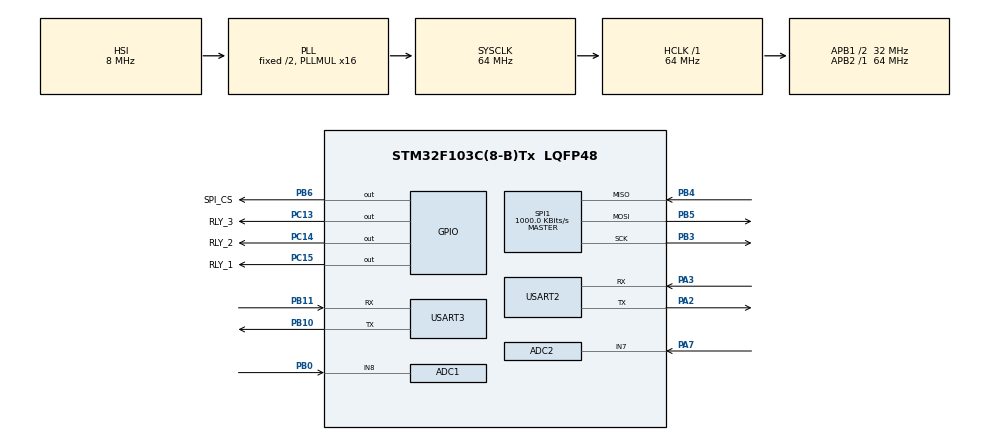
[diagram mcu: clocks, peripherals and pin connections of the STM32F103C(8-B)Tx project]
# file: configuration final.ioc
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ADC1.Channel-0\#ChannelRegularConversion=ADC_CHANNEL_8
ADC1.NbrOfConversionFlag=1
ADC1.Rank-0\#ChannelRegularConversion=1
ADC1.SamplingTime-0\#ChannelRegularConversion=ADC_SAMPLETIME_1CYCLE_5
ADC1.master=1
ADC2.Channel-0\#ChannelRegularConversion=ADC_CHANNEL_7
ADC2.NbrOfConversionFlag=1
ADC2.Rank-0\#ChannelRegularConversion=1
ADC2.SamplingTime-0\#ChannelRegularConversion=ADC_SAMPLETIME_1CYCLE_5
Mcu.Family=STM32F1
Mcu.Name=STM32F103C(8-B)Tx
Mcu.Package=LQFP48
NVIC.PriorityGroup=NVIC_PRIORITYGROUP_4
PA13.Mode=Serial_Wire
PA13.Signal=SYS_JTMS-SWDIO
PA14.Mode=Serial_Wire
PA14.Signal=SYS_JTCK-SWCLK
PA2.Mode=Asynchronous
PA2.Signal=USART2_TX
PA3.Mode=Asynchronous
PA3.Signal=USART2_RX
PA7.Signal=ADCx_IN7
PB0.Signal=ADCx_IN8
PB10.Mode=Asynchronous
PB10.Signal=USART3_TX
PB11.Mode=Asynchronous
PB11.Signal=USART3_RX
PB3.Mode=Full_Duplex_Master
PB3.Signal=SPI1_SCK
PB4.Mode=Full_Duplex_Master
PB4.Signal=SPI1_MISO
PB5.Mode=Full_Duplex_Master
PB5.Signal=SPI1_MOSI
PB6.GPIO_Label=SPI_CS
PB6.Signal=GPIO_Output
PC13-TAMPER-RTC.GPIO_Label=RLY_3
PC13-TAMPER-RTC.Signal=GPIO_Output
PC14-OSC32_IN.GPIO_Label=RLY_2
PC14-OSC32_IN.Signal=GPIO_Output
PC15-OSC32_OUT.GPIO_Label=RLY_1
PC15-OSC32_OUT.Signal=GPIO_Output
ProjectManager.HeapSize=0x200
ProjectManager.StackSize=0x400
ProjectManager.TargetToolchain=STM32CubeIDE
RCC.ADCPresc=RCC_ADCPCLK2_DIV6
RCC.AHBFreq_Value=64000000
RCC.APB1CLKDivider=RCC_HCLK_DIV2
RCC.APB1Freq_Value=32000000
RCC.APB1TimFreq_Value=64000000
RCC.APB2Freq_Value=64000000
RCC.APB2TimFreq_Value=64000000
RCC.HCLKFreq_Value=64000000
RCC.PLLMUL=RCC_PLL_MUL16
RCC.SYSCLKFreq_VALUE=64000000
RCC.SYSCLKSource=RCC_SYSCLKSOURCE_PLLCLK
RCC.USBFreq_Value=64000000
SH.ADCx_IN7.0=ADC2_IN7,IN7
SH.ADCx_IN8.0=ADC1_IN8,IN8
SPI1.BaudRatePrescaler=SPI_BAUDRATEPRESCALER_64
SPI1.CalculateBaudRate=1000.0 KBits/s
SPI1.Direction=SPI_DIRECTION_2LINES
SPI1.Mode=SPI_MODE_MASTER
SPI1.VirtualType=VM_MASTER
USART2.VirtualMode=VM_ASYNC
USART3.VirtualMode=VM_ASYNC
board=custom

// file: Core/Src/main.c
/* USER CODE BEGIN Header */
/**
  ******************************************************************************
  * @file           : main.c
  * @brief          : Main program body
  ******************************************************************************
  * @attention
  *
  * Copyright (c) 2024 STMicroelectronics.
  * All rights reserved.
  *
  * This software is licensed under terms that can be found in the LICENSE file
  * in the root directory of this software component.
  * If no LICENSE file comes with this software, it is provided AS-IS.
  *
  ******************************************************************************
  */
/* USER CODE END Header */
#include "main.h"
#include "adc.h"
#include "spi.h"
#include "usart.h"
#include "gpio.h"
#include "LoRa.h"

/* USER CODE BEGIN Includes */
#define MAX_DATA_SIZE 128
#define MAX_PRINT_SIZE 50
/* USER CODE END Includes */

/* USER CODE BEGIN PD */
LoRa myLoRa;
uint8_t read_data[40];
char LoRa_Data[40];
uint8_t LoRa_stat;
char buffer[200];
uint32_t RxData = 0;
float DataArray[50]; // Tableau pour stocker les données séparées
int size = sizeof(DataArray) / sizeof(DataArray[0]); // Taille du tableau

float Temperature = 1;													/////
float Conductivity = 1;													/////
float Salinity = 1;														/////
float TDS = 1;															/////
float PH = 1;

float Previous_Temperature;
float Previous_Conductivity;
float Previous_Salinity;
float Previous_TDS;
float Previous_PH;

/* USER CODE END PD */

void SystemClock_Config(void);

int main(void)
{

  /* USER CODE BEGIN 1 */
	memset(LoRa_Data, 0, sizeof(LoRa_Data)); // Initialise tous les éléments avec des zéros
  /* USER CODE END 1 */

  /* MCU Configuration--------------------------------------------------------*/

  /* Reset of all peripherals, Initializes the Flash interface and the Systick. */
  HAL_Init();

  /* Configure the system clock */
  SystemClock_Config();

  /* Initialize all configured peripherals */
  MX_GPIO_Init();
  MX_ADC1_Init();
  MX_ADC2_Init();
  MX_SPI1_Init();
  MX_USART2_UART_Init();
  MX_USART3_UART_Init();
  /* USER CODE BEGIN 2 */
  myLoRa = newLoRa();
  LoRa new_LoRa;
  myLoRa.CS_port         = GPIOB;
  myLoRa.CS_pin          = GPIO_PIN_6;
  myLoRa.hSPIx           = &hspi1;

  if(LoRa_init(&myLoRa)==LORA_OK){
	  LoRa_stat = 1;
  }else {
      LoRa_stat = 0; // Échec de l'initialisation
  }
  /* USER CODE END 2 */

  /* Infinite loop */
  while (1)
  {
	  HAL_UART_Transmit(&huart2, (uint8_t *)buffer, strlen(buffer), HAL_MAX_DELAY);
 	  int bytes_received = LoRa_receive(&myLoRa, read_data, sizeof(read_data));
 	  if (LoRa_stat == 1) {
 	              receiveAndProcessLoRaFrame(bytes_received, read_data, &RxData, DataArray, size);
 	              Previous_Temperature = DataArray[0] / 100;
 	              Previous_Conductivity = DataArray[1];
 	              Previous_Salinity = DataArray[2];
 	              Previous_TDS = DataArray[3];
 	              Previous_PH = DataArray[4]/100;
          } else {
	              HAL_UART_Transmit(&huart2, (uint8_t *)"LoRa n'est pas initialisé\n", strlen("LoRa n'est pas initialisé\n"), HAL_MAX_DELAY);
          }

       HAL_UART_Transmit(&huart2, (uint8_t *)"______________________ Les valeurs stocké ________________________\n", strlen("______________________ Les valeurs stocké ________________________\n"), HAL_MAX_DELAY);
       snprintf(buffer, sizeof(buffer), "\nTemperature : %.2f °C\nConductivity : %.2f us/cm\nSalinity: %.2f mg/L\nTDS: %.2f mg/L\nPH: %.2f ph \r\n", Previous_Temperature, Previous_Conductivity, Previous_Salinity, Previous_TDS, Previous_PH);
       HAL_UART_Transmit(&huart2, (uint8_t *)buffer, strlen(buffer), HAL_MAX_DELAY);
       HAL_UART_Transmit(&huart2, (uint8_t *)"______________________________________________\n", strlen("______________________________________________\n"), HAL_MAX_DELAY);

 	 lireTensionBatterie();
 	 lireTensionStable();

 	  HAL_Delay(1000);

  }
  /* USER CODE END 3 */
}

void SystemClock_Config(void)
{
  RCC_OscInitTypeDef RCC_OscInitStruct = {0};
  RCC_ClkInitTypeDef RCC_ClkInitStruct = {0};
  RCC_PeriphCLKInitTypeDef PeriphClkInit = {0};

  /** Initializes the RCC Oscillators according to the specified parameters
  * in the RCC_OscInitTypeDef structure.
  */
  RCC_OscInitStruct.OscillatorType = RCC_OSCILLATORTYPE_HSI;
  RCC_OscInitStruct.HSIState = RCC_HSI_ON;
  RCC_OscInitStruct.HSICalibrationValue = RCC_HSICALIBRATION_DEFAULT;
  RCC_OscInitStruct.PLL.PLLState = RCC_PLL_ON;
  RCC_OscInitStruct.PLL.PLLSource = RCC_PLLSOURCE_HSI_DIV2;
  RCC_OscInitStruct.PLL.PLLMUL = RCC_PLL_MUL16;
  if (HAL_RCC_OscConfig(&RCC_OscInitStruct) != HAL_OK)
  {
    Error_Handler();
  }

  /** Initializes the CPU, AHB and APB buses clocks
  */
  RCC_ClkInitStruct.ClockType = RCC_CLOCKTYPE_HCLK|RCC_CLOCKTYPE_SYSCLK
                              |RCC_CLOCKTYPE_PCLK1|RCC_CLOCKTYPE_PCLK2;
  RCC_ClkInitStruct.SYSCLKSource = RCC_SYSCLKSOURCE_PLLCLK;
  RCC_ClkInitStruct.AHBCLKDivider = RCC_SYSCLK_DIV1;
  RCC_ClkInitStruct.APB1CLKDivider = RCC_HCLK_DIV2;
  RCC_ClkInitStruct.APB2CLKDivider = RCC_HCLK_DIV1;

  if (HAL_RCC_ClockConfig(&RCC_ClkInitStruct, FLASH_LATENCY_2) != HAL_OK)
  {
    Error_Handler();
  }
  PeriphClkInit.PeriphClockSelection = RCC_PERIPHCLK_ADC;
  PeriphClkInit.AdcClockSelection = RCC_ADCPCLK2_DIV6;
  if (HAL_RCCEx_PeriphCLKConfig(&PeriphClkInit) != HAL_OK)
  {
    Error_Handler();
  }
}

void Error_Handler(void)
{
  __disable_irq();
  while (1)
  {
  }
}
